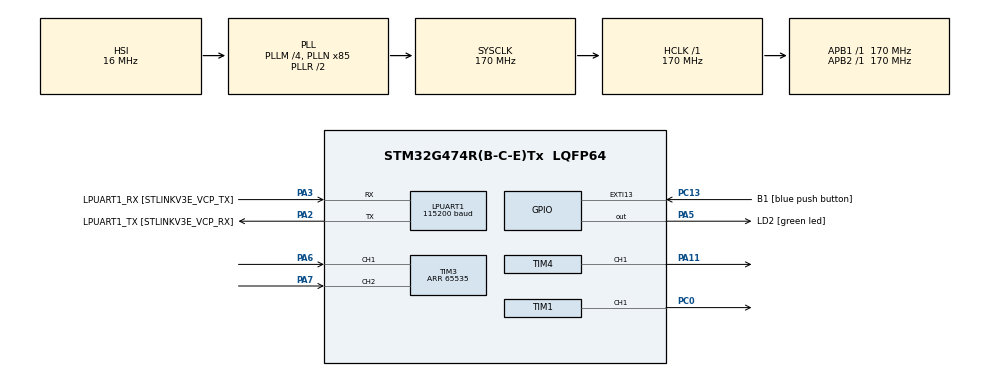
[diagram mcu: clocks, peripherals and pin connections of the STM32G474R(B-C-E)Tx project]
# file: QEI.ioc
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LPUART1.BaudRate=115200
LPUART1.WordLength=UART_WORDLENGTH_8B
Mcu.Family=STM32G4
Mcu.Name=STM32G474R(B-C-E)Tx
Mcu.Package=LQFP64
NVIC.EXTI15_10_IRQn=true\:0\:0\:false\:false\:true\:true\:true\:true
NVIC.PriorityGroup=NVIC_PRIORITYGROUP_4
NVIC.TIM5_IRQn=true\:0\:0\:false\:false\:true\:true\:true\:true
PA11.Signal=S_TIM4_CH1
PA13.GPIO_Label=T_SWDIO
PA13.Mode=Serial_Wire
PA13.Signal=SYS_JTMS-SWDIO
PA14.GPIO_Label=T_SWCLK
PA14.Mode=Serial_Wire
PA14.Signal=SYS_JTCK-SWCLK
PA2.GPIO_Label=LPUART1_TX [STLINKV3E_VCP_RX]
PA2.Mode=Asynchronous
PA2.Signal=LPUART1_TX
PA3.GPIO_Label=LPUART1_RX [STLINKV3E_VCP_TX]
PA3.Mode=Asynchronous
PA3.Signal=LPUART1_RX
PA5.GPIO_Label=LD2 [green led]
PA5.Signal=GPIO_Output
PA6.Signal=S_TIM3_CH1
PA7.Signal=S_TIM3_CH2
PB3.GPIO_Label=T_SWO
PB3.Signal=SYS_JTDO-SWO
PC0.Signal=S_TIM1_CH1
PC13.GPIO_Label=B1 [blue push button]
PC13.Signal=GPXTI13
PC14-OSC32_IN.Mode=LSE-External-Oscillator
PC14-OSC32_IN.Signal=RCC_OSC32_IN
PC15-OSC32_OUT.Mode=LSE-External-Oscillator
PC15-OSC32_OUT.Signal=RCC_OSC32_OUT
PF0-OSC_IN.Mode=HSE-External-Oscillator
PF0-OSC_IN.Signal=RCC_OSC_IN
PF1-OSC_OUT.Mode=HSE-External-Oscillator
PF1-OSC_OUT.Signal=RCC_OSC_OUT
ProjectManager.HeapSize=0x200
ProjectManager.StackSize=0x400
ProjectManager.TargetToolchain=STM32CubeIDE
RCC.ADC12Freq_Value=170000000
RCC.ADC345Freq_Value=170000000
RCC.AHBFreq_Value=170000000
RCC.APB1Freq_Value=170000000
RCC.APB1TimFreq_Value=170000000
RCC.APB2Freq_Value=170000000
RCC.APB2TimFreq_Value=170000000
RCC.CortexFreq_Value=170000000
RCC.EXTERNAL_CLOCK_VALUE=12288000
RCC.HCLKFreq_Value=170000000
RCC.HSE_VALUE=24000000
RCC.HSI48_VALUE=48000000
RCC.HSI_VALUE=16000000
RCC.PLLM=RCC_PLLM_DIV4
RCC.PLLN=85
RCC.RTCClockSelection=RCC_RTCCLKSOURCE_LSE
RCC.SYSCLKFreq_VALUE=170000000
RCC.SYSCLKSource=RCC_SYSCLKSOURCE_PLLCLK
RCC.USBFreq_Value=170000000
RCC.VCOOutputFreq_Value=340000000
SH.S_TIM1_CH1.0=TIM1_CH1,PWM Generation1 CH1
SH.S_TIM3_CH1.0=TIM3_CH1,Encoder_Interface
SH.S_TIM3_CH2.0=TIM3_CH2,Encoder_Interface
SH.S_TIM4_CH1.0=TIM4_CH1,PWM Generation1 CH1
TIM1.Channel-PWM\ Generation1\ CH1=TIM_CHANNEL_1
TIM1.PeriodNoDither=19999
TIM1.Prescaler=169
TIM3.EncoderMode=TIM_ENCODERMODE_TI12
TIM3.PeriodNoDither=65535
TIM4.Channel-PWM\ Generation1\ CH1=TIM_CHANNEL_1
TIM4.PeriodNoDither=19999
TIM4.Prescaler=169
TIM5.Prescaler=169
VP_SYS_VS_DBSignals.Mode=DisableDeadBatterySignals
VP_TIM1_VS_ClockSourceINT.Mode=Internal
VP_TIM4_VS_ClockSourceINT.Mode=Internal
VP_TIM5_VS_ClockSourceINT.Mode=Internal
board=NUCLEO-G474RE

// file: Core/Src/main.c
/* USER CODE BEGIN Header */
/**
  ******************************************************************************
  * @file           : main.c
  * @brief          : Main program body
  ******************************************************************************
  * @attention
  *
  * Copyright (c) 2024 STMicroelectronics.
  * All rights reserved.
  *
  * This software is licensed under terms that can be found in the LICENSE file
  * in the root directory of this software component.
  * If no LICENSE file comes with this software, it is provided AS-IS.
  *
  ******************************************************************************
  */
/* USER CODE END Header */
#include "main.h"

UART_HandleTypeDef hlpuart1;

TIM_HandleTypeDef htim1;
TIM_HandleTypeDef htim3;
TIM_HandleTypeDef htim4;
TIM_HandleTypeDef htim5;

/* USER CODE BEGIN PV */
typedef struct
{
	// for record New / Old value to calculate dx / dt
	uint32_t Position[2];
	uint64_t TimeStamp[2];
	float QEIPostion_1turn;
	float QEIAngularVelocity;
}QEI_StructureTypeDef;

QEI_StructureTypeDef QEIdata = {0};

uint64_t _micros = 0;

float pi = 3.1415926535897932384626433832795;
float Degree = 0;
float Radian = 0;
float _RPM = 0;

uint32_t PWMset1 = 0;
uint32_t PWMset2 = 0;

enum
{
	NEW,OLD
};
/* USER CODE END PV */

void SystemClock_Config(void);
static void MX_GPIO_Init(void);
static void MX_LPUART1_UART_Init(void);
static void MX_TIM3_Init(void);
static void MX_TIM5_Init(void);
static void MX_TIM1_Init(void);
static void MX_TIM4_Init(void);
/* USER CODE BEGIN PFP */
uint64_t micros();
void QEIEncoderPosVel_Update();
/* USER CODE END PFP */

int main(void)
{

  /* MCU Configuration--------------------------------------------------------*/

  /* Reset of all peripherals, Initializes the Flash interface and the Systick. */
  HAL_Init();

  /* Configure the system clock */
  SystemClock_Config();

  /* Initialize all configured peripherals */
  MX_GPIO_Init();
  MX_LPUART1_UART_Init();
  MX_TIM3_Init();
  MX_TIM5_Init();
  MX_TIM1_Init();
  MX_TIM4_Init();
  /* USER CODE BEGIN 2 */
  HAL_TIM_Encoder_Start(&htim3,TIM_CHANNEL_ALL);
  HAL_TIM_Base_Start_IT(&htim5);
  HAL_TIM_Base_Start(&htim1);
  HAL_TIM_PWM_Start(&htim1, TIM_CHANNEL_1);
  HAL_TIM_PWM_Start(&htim4, TIM_CHANNEL_1);
  _micros -= UINT32_MAX;
  /* USER CODE END 2 */

  /* Infinite loop */
  while (1)
  {

    /* USER CODE BEGIN 3 */
//	  __HAL_TIM_SET_COMPARE(&htim1, TIM_CHANNEL_1, (PWMset1/100.)*20000);
//	  __HAL_TIM_SET_COMPARE(&htim4, TIM_CHANNEL_1, (PWMset2/100.)*20000);
	  //Call every 0.1 s
	  static uint64_t timestamp =0;
	  int64_t currentTime = micros();
	  if(currentTime > timestamp)
	  {
		  timestamp = currentTime + 100000;//us
		  QEIEncoderPosVel_Update();
	  }
	  Degree = (QEIdata.QEIPostion_1turn / 8192.0) * 360 ;
	  Radian = (QEIdata.QEIPostion_1turn / 8192.0) * (2*pi);
	  _RPM = (QEIdata.QEIAngularVelocity/8192.0)*60.0;
  }
  /* USER CODE END 3 */
}

void SystemClock_Config(void)
{
  RCC_OscInitTypeDef RCC_OscInitStruct = {0};
  RCC_ClkInitTypeDef RCC_ClkInitStruct = {0};

  /** Configure the main internal regulator output voltage
  */
  HAL_PWREx_ControlVoltageScaling(PWR_REGULATOR_VOLTAGE_SCALE1_BOOST);

  /** Initializes the RCC Oscillators according to the specified parameters
  * in the RCC_OscInitTypeDef structure.
  */
  RCC_OscInitStruct.OscillatorType = RCC_OSCILLATORTYPE_HSI;
  RCC_OscInitStruct.HSIState = RCC_HSI_ON;
  RCC_OscInitStruct.HSICalibrationValue = RCC_HSICALIBRATION_DEFAULT;
  RCC_OscInitStruct.PLL.PLLState = RCC_PLL_ON;
  RCC_OscInitStruct.PLL.PLLSource = RCC_PLLSOURCE_HSI;
  RCC_OscInitStruct.PLL.PLLM = RCC_PLLM_DIV4;
  RCC_OscInitStruct.PLL.PLLN = 85;
  RCC_OscInitStruct.PLL.PLLP = RCC_PLLP_DIV2;
  RCC_OscInitStruct.PLL.PLLQ = RCC_PLLQ_DIV2;
  RCC_OscInitStruct.PLL.PLLR = RCC_PLLR_DIV2;
  if (HAL_RCC_OscConfig(&RCC_OscInitStruct) != HAL_OK)
  {
    Error_Handler();
  }

  /** Initializes the CPU, AHB and APB buses clocks
  */
  RCC_ClkInitStruct.ClockType = RCC_CLOCKTYPE_HCLK|RCC_CLOCKTYPE_SYSCLK
                              |RCC_CLOCKTYPE_PCLK1|RCC_CLOCKTYPE_PCLK2;
  RCC_ClkInitStruct.SYSCLKSource = RCC_SYSCLKSOURCE_PLLCLK;
  RCC_ClkInitStruct.AHBCLKDivider = RCC_SYSCLK_DIV1;
  RCC_ClkInitStruct.APB1CLKDivider = RCC_HCLK_DIV1;
  RCC_ClkInitStruct.APB2CLKDivider = RCC_HCLK_DIV1;

  if (HAL_RCC_ClockConfig(&RCC_ClkInitStruct, FLASH_LATENCY_4) != HAL_OK)
  {
    Error_Handler();
  }
}

static void MX_LPUART1_UART_Init(void)
{

  hlpuart1.Instance = LPUART1;
  hlpuart1.Init.BaudRate = 115200;
  hlpuart1.Init.WordLength = UART_WORDLENGTH_8B;
  hlpuart1.Init.StopBits = UART_STOPBITS_1;
  hlpuart1.Init.Parity = UART_PARITY_NONE;
  hlpuart1.Init.Mode = UART_MODE_TX_RX;
  hlpuart1.Init.HwFlowCtl = UART_HWCONTROL_NONE;
  hlpuart1.Init.OneBitSampling = UART_ONE_BIT_SAMPLE_DISABLE;
  hlpuart1.Init.ClockPrescaler = UART_PRESCALER_DIV1;
  hlpuart1.AdvancedInit.AdvFeatureInit = UART_ADVFEATURE_NO_INIT;
  if (HAL_UART_Init(&hlpuart1) != HAL_OK)
  {
    Error_Handler();
  }
  if (HAL_UARTEx_SetTxFifoThreshold(&hlpuart1, UART_TXFIFO_THRESHOLD_1_8) != HAL_OK)
  {
    Error_Handler();
  }
  if (HAL_UARTEx_SetRxFifoThreshold(&hlpuart1, UART_RXFIFO_THRESHOLD_1_8) != HAL_OK)
  {
    Error_Handler();
  }
  if (HAL_UARTEx_DisableFifoMode(&hlpuart1) != HAL_OK)
  {
    Error_Handler();
  }

}

static void MX_TIM1_Init(void)
{

  TIM_ClockConfigTypeDef sClockSourceConfig = {0};
  TIM_MasterConfigTypeDef sMasterConfig = {0};
  TIM_OC_InitTypeDef sConfigOC = {0};
  TIM_BreakDeadTimeConfigTypeDef sBreakDeadTimeConfig = {0};

  htim1.Instance = TIM1;
  htim1.Init.Prescaler = 169;
  htim1.Init.CounterMode = TIM_COUNTERMODE_UP;
  htim1.Init.Period = 19999;
  htim1.Init.ClockDivision = TIM_CLOCKDIVISION_DIV1;
  htim1.Init.RepetitionCounter = 0;
  htim1.Init.AutoReloadPreload = TIM_AUTORELOAD_PRELOAD_DISABLE;
  if (HAL_TIM_Base_Init(&htim1) != HAL_OK)
  {
    Error_Handler();
  }
  sClockSourceConfig.ClockSource = TIM_CLOCKSOURCE_INTERNAL;
  if (HAL_TIM_ConfigClockSource(&htim1, &sClockSourceConfig) != HAL_OK)
  {
    Error_Handler();
  }
  if (HAL_TIM_PWM_Init(&htim1) != HAL_OK)
  {
    Error_Handler();
  }
  sMasterConfig.MasterOutputTrigger = TIM_TRGO_RESET;
  sMasterConfig.MasterOutputTrigger2 = TIM_TRGO2_RESET;
  sMasterConfig.MasterSlaveMode = TIM_MASTERSLAVEMODE_DISABLE;
  if (HAL_TIMEx_MasterConfigSynchronization(&htim1, &sMasterConfig) != HAL_OK)
  {
    Error_Handler();
  }
  sConfigOC.OCMode = TIM_OCMODE_PWM1;
  sConfigOC.Pulse = 0;
  sConfigOC.OCPolarity = TIM_OCPOLARITY_HIGH;
  sConfigOC.OCNPolarity = TIM_OCNPOLARITY_HIGH;
  sConfigOC.OCFastMode = TIM_OCFAST_DISABLE;
  sConfigOC.OCIdleState = TIM_OCIDLESTATE_RESET;
  sConfigOC.OCNIdleState = TIM_OCNIDLESTATE_RESET;
  if (HAL_TIM_PWM_ConfigChannel(&htim1, &sConfigOC, TIM_CHANNEL_1) != HAL_OK)
  {
    Error_Handler();
  }
  sBreakDeadTimeConfig.OffStateRunMode = TIM_OSSR_DISABLE;
  sBreakDeadTimeConfig.OffStateIDLEMode = TIM_OSSI_DISABLE;
  sBreakDeadTimeConfig.LockLevel = TIM_LOCKLEVEL_OFF;
  sBreakDeadTimeConfig.DeadTime = 0;
  sBreakDeadTimeConfig.BreakState = TIM_BREAK_DISABLE;
  sBreakDeadTimeConfig.BreakPolarity = TIM_BREAKPOLARITY_HIGH;
  sBreakDeadTimeConfig.BreakFilter = 0;
  sBreakDeadTimeConfig.BreakAFMode = TIM_BREAK_AFMODE_INPUT;
  sBreakDeadTimeConfig.Break2State = TIM_BREAK2_DISABLE;
  sBreakDeadTimeConfig.Break2Polarity = TIM_BREAK2POLARITY_HIGH;
  sBreakDeadTimeConfig.Break2Filter = 0;
  sBreakDeadTimeConfig.Break2AFMode = TIM_BREAK_AFMODE_INPUT;
  sBreakDeadTimeConfig.AutomaticOutput = TIM_AUTOMATICOUTPUT_DISABLE;
  if (HAL_TIMEx_ConfigBreakDeadTime(&htim1, &sBreakDeadTimeConfig) != HAL_OK)
  {
    Error_Handler();
  }
  HAL_TIM_MspPostInit(&htim1);

}

static void MX_TIM3_Init(void)
{

  TIM_Encoder_InitTypeDef sConfig = {0};
  TIM_MasterConfigTypeDef sMasterConfig = {0};

  htim3.Instance = TIM3;
  htim3.Init.Prescaler = 0;
  htim3.Init.CounterMode = TIM_COUNTERMODE_UP;
  htim3.Init.Period = 65535;
  htim3.Init.ClockDivision = TIM_CLOCKDIVISION_DIV1;
  htim3.Init.AutoReloadPreload = TIM_AUTORELOAD_PRELOAD_DISABLE;
  sConfig.EncoderMode = TIM_ENCODERMODE_TI12;
  sConfig.IC1Polarity = TIM_ICPOLARITY_RISING;
  sConfig.IC1Selection = TIM_ICSELECTION_DIRECTTI;
  sConfig.IC1Prescaler = TIM_ICPSC_DIV1;
  sConfig.IC1Filter = 0;
  sConfig.IC2Polarity = TIM_ICPOLARITY_RISING;
  sConfig.IC2Selection = TIM_ICSELECTION_DIRECTTI;
  sConfig.IC2Prescaler = TIM_ICPSC_DIV1;
  sConfig.IC2Filter = 0;
  if (HAL_TIM_Encoder_Init(&htim3, &sConfig) != HAL_OK)
  {
    Error_Handler();
  }
  sMasterConfig.MasterOutputTrigger = TIM_TRGO_RESET;
  sMasterConfig.MasterSlaveMode = TIM_MASTERSLAVEMODE_DISABLE;
  if (HAL_TIMEx_MasterConfigSynchronization(&htim3, &sMasterConfig) != HAL_OK)
  {
    Error_Handler();
  }

}

static void MX_TIM4_Init(void)
{

  TIM_ClockConfigTypeDef sClockSourceConfig = {0};
  TIM_MasterConfigTypeDef sMasterConfig = {0};
  TIM_OC_InitTypeDef sConfigOC = {0};

  htim4.Instance = TIM4;
  htim4.Init.Prescaler = 169;
  htim4.Init.CounterMode = TIM_COUNTERMODE_UP;
  htim4.Init.Period = 19999;
  htim4.Init.ClockDivision = TIM_CLOCKDIVISION_DIV1;
  htim4.Init.AutoReloadPreload = TIM_AUTORELOAD_PRELOAD_DISABLE;
  if (HAL_TIM_Base_Init(&htim4) != HAL_OK)
  {
    Error_Handler();
  }
  sClockSourceConfig.ClockSource = TIM_CLOCKSOURCE_INTERNAL;
  if (HAL_TIM_ConfigClockSource(&htim4, &sClockSourceConfig) != HAL_OK)
  {
    Error_Handler();
  }
  if (HAL_TIM_PWM_Init(&htim4) != HAL_OK)
  {
    Error_Handler();
  }
  sMasterConfig.MasterOutputTrigger = TIM_TRGO_RESET;
  sMasterConfig.MasterSlaveMode = TIM_MASTERSLAVEMODE_DISABLE;
  if (HAL_TIMEx_MasterConfigSynchronization(&htim4, &sMasterConfig) != HAL_OK)
  {
    Error_Handler();
  }
  sConfigOC.OCMode = TIM_OCMODE_PWM1;
  sConfigOC.Pulse = 0;
  sConfigOC.OCPolarity = TIM_OCPOLARITY_HIGH;
  sConfigOC.OCFastMode = TIM_OCFAST_DISABLE;
  if (HAL_TIM_PWM_ConfigChannel(&htim4, &sConfigOC, TIM_CHANNEL_1) != HAL_OK)
  {
    Error_Handler();
  }
  HAL_TIM_MspPostInit(&htim4);

}

static void MX_TIM5_Init(void)
{

  TIM_ClockConfigTypeDef sClockSourceConfig = {0};
  TIM_MasterConfigTypeDef sMasterConfig = {0};

  htim5.Instance = TIM5;
  htim5.Init.Prescaler = 169;
  htim5.Init.CounterMode = TIM_COUNTERMODE_UP;
  htim5.Init.Period = 4.294967295E9;
  htim5.Init.ClockDivision = TIM_CLOCKDIVISION_DIV1;
  htim5.Init.AutoReloadPreload = TIM_AUTORELOAD_PRELOAD_DISABLE;
  if (HAL_TIM_Base_Init(&htim5) != HAL_OK)
  {
    Error_Handler();
  }
  sClockSourceConfig.ClockSource = TIM_CLOCKSOURCE_INTERNAL;
  if (HAL_TIM_ConfigClockSource(&htim5, &sClockSourceConfig) != HAL_OK)
  {
    Error_Handler();
  }
  sMasterConfig.MasterOutputTrigger = TIM_TRGO_RESET;
  sMasterConfig.MasterSlaveMode = TIM_MASTERSLAVEMODE_DISABLE;
  if (HAL_TIMEx_MasterConfigSynchronization(&htim5, &sMasterConfig) != HAL_OK)
  {
    Error_Handler();
  }

}

static void MX_GPIO_Init(void)
{
  GPIO_InitTypeDef GPIO_InitStruct = {0};

  /* GPIO Ports Clock Enable */
  __HAL_RCC_GPIOC_CLK_ENABLE();
  __HAL_RCC_GPIOF_CLK_ENABLE();
  __HAL_RCC_GPIOA_CLK_ENABLE();
  __HAL_RCC_GPIOB_CLK_ENABLE();

  /*Configure GPIO pin Output Level */
  HAL_GPIO_WritePin(LD2_GPIO_Port, LD2_Pin, GPIO_PIN_RESET);

  /*Configure GPIO pin : B1_Pin */
  GPIO_InitStruct.Pin = B1_Pin;
  GPIO_InitStruct.Mode = GPIO_MODE_IT_RISING;
  GPIO_InitStruct.Pull = GPIO_NOPULL;
  HAL_GPIO_Init(B1_GPIO_Port, &GPIO_InitStruct);

  /*Configure GPIO pin : LD2_Pin */
  GPIO_InitStruct.Pin = LD2_Pin;
  GPIO_InitStruct.Mode = GPIO_MODE_OUTPUT_PP;
  GPIO_InitStruct.Pull = GPIO_NOPULL;
  GPIO_InitStruct.Speed = GPIO_SPEED_FREQ_LOW;
  HAL_GPIO_Init(LD2_GPIO_Port, &GPIO_InitStruct);

  /* EXTI interrupt init*/
  HAL_NVIC_SetPriority(EXTI15_10_IRQn, 0, 0);
  HAL_NVIC_EnableIRQ(EXTI15_10_IRQn);

}

/* USER CODE BEGIN 4 */
//MicroSecondTimer Implement
void HAL_TIM_PeriodElapsedCallback(TIM_HandleTypeDef *htim)
{
	if(htim == &htim5)
	{
		_micros += UINT32_MAX;
	}
}

uint64_t micros()
{
	return __HAL_TIM_GET_COUNTER(&htim5)+_micros;
}

void QEIEncoderPosVel_Update()
{
	//collect data
	QEIdata.TimeStamp[NEW] = micros();
	QEIdata.Position[NEW] = __HAL_TIM_GET_COUNTER(&htim3);

	//Postion 1 turn calculation
	QEIdata.QEIPostion_1turn = QEIdata.Position[NEW] % 8192;

	//calculate dx
	int32_t diffPosition = QEIdata.Position[NEW] - QEIdata.Position[OLD];

	//Handle Warp around
	if(diffPosition > 32768)
		diffPosition -=655536;
	if(diffPosition < -32768)
		diffPosition +=65536;

	//calculate dt
	float diffTime = (QEIdata.TimeStamp[NEW]-QEIdata.TimeStamp[OLD]) * 0.000001  ;

	//calculate anglar velocity
	QEIdata.QEIAngularVelocity = diffPosition / diffTime;

	//store value for next loop
	QEIdata.Position[OLD] = QEIdata.Position[NEW];
	QEIdata.TimeStamp[OLD]=QEIdata.TimeStamp[NEW];
}
/* USER CODE END 4 */

void Error_Handler(void)
{
  __disable_irq();
  while (1)
  {
  }
}
